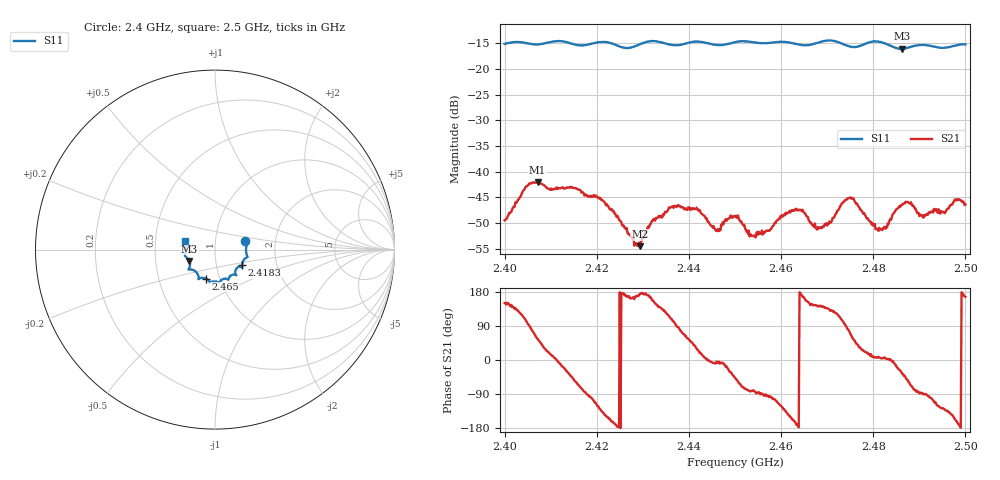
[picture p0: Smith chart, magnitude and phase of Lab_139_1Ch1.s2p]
# Hz S RI R 50
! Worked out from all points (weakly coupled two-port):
!   601 points, 2.4 GHz to 2.5 GHz, reference 50 ohm
!   highest |S21| = -41.97 dB at 2.4072 GHz (marker M1); lowest = -54.5 dB at 2.4293 GHz (marker M2)
!   lowest |S11| = -16.1 dB at 2.4862 GHz (marker M3), VSWR 1.37, Z = 37.2 - j4.81 ohm
!   |S11| at or under -10 dB: start of sweep to end of sweep
!   S12 and S22 are empty: the file has one direction only
!   S11 on the Smith chart (normalised r, x): 2.4 GHz: 1.40, +0.13; 2.4183 GHz: 1.33, -0.24; 2.465 GHz: 0.86, -0.28; 2.5 GHz: 0.71, +0.07
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2.4e9  0.1688 0.0463  -0.00293 0.00166  0 0  0 0
2.404833e9  0.1761 0.0209  -0.0013 0.00709  0 0  0 0
2.407167e9  0.1727 -0.00546  0.0045 0.00658  0 0  0 0
2.416667e9  0.1546 -0.0678  0.00167 -0.00605  0 0  0 0
2.418333e9  0.1499 -0.087  -0.000614 -0.0057  0 0  0 0
2.421333e9  0.1527 -0.1006  -0.00386 -0.00353  0 0  0 0
2.429333e9  0.1126 -0.1317  -0.00188 0.000205  0 0  0 0
2.433333e9  0.1178 -0.1412  -0.00275 0.00231  0 0  0 0
2.4415e9  0.0743 -0.1684  0.00366 0.00236  0 0  0 0
2.446333e9  0.0507 -0.1628  0.00275 -0.000385  0 0  0 0
2.45e9  0.0255 -0.18  0.00249 -0.00271  0 0  0 0
2.454e9  0.0148 -0.1807  0.000407 -0.00234  0 0  0 0
2.461833e9  -0.0315 -0.1775  -0.00348 -0.00228  0 0  0 0
2.465e9  -0.0523 -0.1613  -0.00384 0.00109  0 0  0 0
2.466667e9  -0.0712 -0.1572  -0.00256 0.00169  0 0  0 0
2.4705e9  -0.0915 -0.1653  -0.00224 0.0024  0 0  0 0
2.475e9  -0.1007 -0.1301  0.0019 0.00531  0 0  0 0
2.481e9  -0.1477 -0.1101  0.00277 0.000361  0 0  0 0
2.483333e9  -0.141 -0.0966  0.0031 8.03e-05  0 0  0 0
2.486167e9  -0.1434 -0.0631  0.00402 -0.0026  0 0  0 0
2.491e9  -0.1677 -0.034  -5.7e-05 -0.00378  0 0  0 0
2.5e9  -0.1666 0.047  -0.00467 0.0011  0 0  0 0
